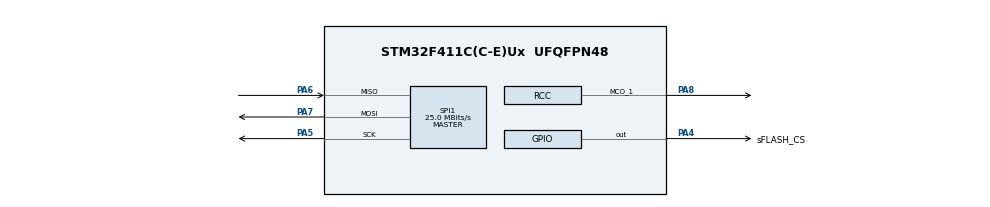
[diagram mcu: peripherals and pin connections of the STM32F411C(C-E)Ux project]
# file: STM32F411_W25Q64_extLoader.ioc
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Mcu.Family=STM32F4
Mcu.Name=STM32F411C(C-E)Ux
Mcu.Package=UFQFPN48
NVIC.PriorityGroup=NVIC_PRIORITYGROUP_4
PA13.Mode=Serial_Wire
PA13.Signal=SYS_JTMS-SWDIO
PA14.Mode=Serial_Wire
PA14.Signal=SYS_JTCK-SWCLK
PA4.GPIO_Label=sFLASH_CS
PA4.GPIO_Speed=GPIO_SPEED_FREQ_HIGH
PA4.PinState=GPIO_PIN_SET
PA4.Signal=GPIO_Output
PA5.Mode=Full_Duplex_Master
PA5.Signal=SPI1_SCK
PA6.Mode=Full_Duplex_Master
PA6.Signal=SPI1_MISO
PA7.Mode=Full_Duplex_Master
PA7.Signal=SPI1_MOSI
PA8.Mode=Clock-out-1
PA8.Signal=RCC_MCO_1
PH0\ -\ OSC_IN.Mode=HSE-External-Oscillator
PH0\ -\ OSC_IN.Signal=RCC_OSC_IN
PH1\ -\ OSC_OUT.Mode=HSE-External-Oscillator
PH1\ -\ OSC_OUT.Signal=RCC_OSC_OUT
ProjectManager.HeapSize=0x200
ProjectManager.StackSize=0x400
ProjectManager.TargetToolchain=MDK-ARM V5.32
RCC.48MHZClocksFreq_Value=50000000
RCC.AHBFreq_Value=100000000
RCC.APB1CLKDivider=RCC_HCLK_DIV2
RCC.APB1Freq_Value=50000000
RCC.APB1TimFreq_Value=100000000
RCC.APB2Freq_Value=100000000
RCC.APB2TimFreq_Value=100000000
RCC.CortexFreq_Value=100000000
RCC.HCLKFreq_Value=100000000
RCC.HSE_VALUE=25000000
RCC.HSI_VALUE=16000000
RCC.LSE_VALUE=32768
RCC.PLLM=8
RCC.PLLN=100
RCC.RCC_MCO1Source=RCC_MCO1SOURCE_PLLCLK
RCC.RCC_MCODiv1=RCC_MCODIV_2
RCC.SYSCLKFreq_VALUE=100000000
RCC.SYSCLKSource=RCC_SYSCLKSOURCE_PLLCLK
RCC.VCOOutputFreq_Value=200000000
SPI1.BaudRatePrescaler=SPI_BAUDRATEPRESCALER_4
SPI1.CalculateBaudRate=25.0 MBits/s
SPI1.Direction=SPI_DIRECTION_2LINES
SPI1.Mode=SPI_MODE_MASTER
SPI1.VirtualType=VM_MASTER
board=custom

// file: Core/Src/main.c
/* USER CODE BEGIN Header */
/**
  ******************************************************************************
  * @file           : main.c
  * @brief          : Main program body
  ******************************************************************************
  * @attention
  *
  * Copyright (c) 2024 STMicroelectronics.
  * All rights reserved.
  *
  * This software is licensed under terms that can be found in the LICENSE file
  * in the root directory of this software component.
  * If no LICENSE file comes with this software, it is provided AS-IS.
  *
  ******************************************************************************
  */
/* USER CODE END Header */
#include "main.h"
#include "spi.h"
#include "gpio.h"

/* USER CODE BEGIN Includes */
#include "stm32_eval_spi_flash.h"
/* USER CODE END Includes */

void SystemClock_Config(void);

/* USER CODE BEGIN 0 */
int Init (void)
{
	SystemInit();
	  /* MCU Configuration--------------------------------------------------------*/
__disable_irq();
  /* Reset of all peripherals, Initializes the Flash interface and the Systick. */
  LL_APB2_GRP1_EnableClock(LL_APB2_GRP1_PERIPH_SYSCFG);
  LL_APB1_GRP1_EnableClock(LL_APB1_GRP1_PERIPH_PWR);

  /* System interrupt init*/
 // NVIC_SetPriorityGrouping(NVIC_PRIORITYGROUP_4);

  /* SysTick_IRQn interrupt configuration */
 // NVIC_SetPriority(SysTick_IRQn, NVIC_EncodePriority(NVIC_GetPriorityGrouping(),15, 0));

  /* USER CODE BEGIN Init */

  /* USER CODE END Init */

  /* Configure the system clock */
  SystemClock_Config();

  /* USER CODE BEGIN SysInit */

  /* USER CODE END SysInit */

  /* Initialize all configured peripherals */
  MX_GPIO_Init();
  MX_SPI1_Init();
	LL_SPI_Enable(sFLASH_SPI);
	sFLASH_ReadID();
	return 1;
}

/**
  * Description :
  * Read data from the device
  * Inputs    :
  *      Address       : Write location
  *      Size          : Length in bytes
  *      buffer        : Address where to get the data to write
  * outputs   :
  *      R0             : "1" 			: Operation succeeded
  * 			  "0" 			: Operation failure
  * Note: Mandatory for all types except SRAM and PSRAM
  */
int Read (uint32_t Address, uint32_t Size, uint8_t* buffer)
{
  sFLASH_ReadBuffer(buffer, Address, Size);
  return 1;
}

/**
  * Description :
  * Write data from the device
  * Inputs    :
  *      Address       : Write location
  *      Size          : Length in bytes
  *      buffer        : Address where to get the data to write
  * outputs   :
  *      R0           : "1" 			: Operation succeeded
  *                     "0" 			: Operation failure
  * Note: Mandatory for all types except SRAM and PSRAM
  */
int Write (uint32_t Address, uint32_t Size, uint8_t* buffer)
{
  sFLASH_WriteBuffer(buffer, Address, Size);
  return 1;
}

/**
  * Description :
  * Erase a full sector in the device
  * Inputs    :
  *     None
  * outputs   :
  *     R0             : "1" : Operation succeeded
  * 			 "0" : Operation failure
  * Note: Not Mandatory for SRAM PSRAM and NOR_FLASH
  */
int MassErase (void)
{
  sFLASH_EraseBulk();
  return 1;
}

/**
  * Description :
  * Erase a full sector in the device
  * Inputs    :
  *      SectrorAddress	: Start of sector
  *      Size          : Size (in WORD)
  *      InitVal       : Initial CRC value
  * outputs   :
  *     R0             : "1" : Operation succeeded
  * 			 "0" : Operation failure
  * Note: Not Mandatory for SRAM PSRAM and NOR_FLASH
  */
int SectorErase (uint32_t EraseStartAddress ,uint32_t EraseEndAddress)
{
  EraseStartAddress = EraseStartAddress -  EraseStartAddress%0x10000;
  while (EraseEndAddress>=EraseStartAddress)
  {
    sFLASH_EraseSector(EraseStartAddress);
    EraseStartAddress += 0x10000;
  }
  return 1;
}

/**
  * Description :
  * Calculates checksum value of the memory zone
  * Inputs    :
  *      StartAddress  : Flash start address
  *      Size          : Size (in WORD)
  *      InitVal       : Initial CRC value
  * outputs   :
  *     R0             : Checksum value
  * Note: Optional for all types of device
  */
uint32_t CheckSum(uint32_t StartAddress, uint32_t Size, uint32_t InitVal)
{
  uint8_t missalignementAddress = StartAddress%4;
  uint8_t missalignementSize = Size ;
	int cnt;
	uint32_t Val;
  uint8_t value;

  StartAddress-=StartAddress%4;
  Size += (Size%4==0)?0:4-(Size%4);

  for(cnt=0; cnt<Size ; cnt+=4)
  {
    sFLASH_ReadBuffer(&value, StartAddress ,1);
    Val = value;
    sFLASH_ReadBuffer(&value, StartAddress + 1,1);
    Val+= value<<8;
    sFLASH_ReadBuffer(&value, StartAddress + 2,1);
    Val+= value<<16;
    sFLASH_ReadBuffer(&value, StartAddress + 3,1);
    Val+= value<<24;
    if(missalignementAddress)
    {
      switch (missalignementAddress)
      {
        case 1:
          InitVal += (uint8_t) (Val>>8 & 0xff);
          InitVal += (uint8_t) (Val>>16 & 0xff);
          InitVal += (uint8_t) (Val>>24 & 0xff);
          missalignementAddress-=1;
          break;
        case 2:
          InitVal += (uint8_t) (Val>>16 & 0xff);
          InitVal += (uint8_t) (Val>>24 & 0xff);
          missalignementAddress-=2;
          break;
        case 3:
          InitVal += (uint8_t) (Val>>24 & 0xff);
          missalignementAddress-=3;
          break;
      }
    }
    else if((Size-missalignementSize)%4 && (Size-cnt) <=4)
    {
      switch (Size-missalignementSize)
      {
        case 1:
          InitVal += (uint8_t) Val;
          InitVal += (uint8_t) (Val>>8 & 0xff);
          InitVal += (uint8_t) (Val>>16 & 0xff);
          missalignementSize-=1;
          break;
        case 2:
          InitVal += (uint8_t) Val;
          InitVal += (uint8_t) (Val>>8 & 0xff);
          missalignementSize-=2;
          break;
        case 3:
          InitVal += (uint8_t) Val;
          missalignementSize-=3;
          break;
      }
    }
    else
    {
      InitVal += (uint8_t) Val;
      InitVal += (uint8_t) (Val>>8 & 0xff);
      InitVal += (uint8_t) (Val>>16 & 0xff);
      InitVal += (uint8_t) (Val>>24 & 0xff);
    }
    StartAddress+=4;
  }

  return (InitVal);
}

/**
  * Description :
  * Verify flash memory with RAM buffer and calculates checksum value of
  * the programmed memory
  * Inputs    :
  *      FlashAddr     : Flash address
  *      RAMBufferAddr : RAM buffer address
  *      Size          : Size (in WORD)
  *      InitVal       : Initial CRC value
  * outputs   :
  *     R0             : Operation failed (address of failure)
  *     R1             : Checksum value
  * Note: Optional for all types of device
  */
uint64_t Verify (uint32_t MemoryAddr, uint32_t RAMBufferAddr, uint32_t Size, uint32_t missalignement)
{
  uint32_t InitVal = 0;
  uint32_t VerifiedData = 0;
  uint8_t TmpBuffer = 0x00;
	uint64_t checksum;
  Size*=4;

  checksum = CheckSum((uint32_t)MemoryAddr + (missalignement & 0xf), Size - ((missalignement >> 16) & 0xF), InitVal);

  while (Size>VerifiedData)
  {
    sFLASH_ReadBuffer(&TmpBuffer, MemoryAddr+VerifiedData, 1);

    if (TmpBuffer != *((uint8_t*)RAMBufferAddr+VerifiedData))
      return ((checksum<<32) + MemoryAddr+VerifiedData);

    VerifiedData++;
  }

  return (checksum<<32);
}

/* USER CODE END 0 */

int mainx(void)
{
  /* USER CODE BEGIN 1 */
uint32_t id;
	__disable_irq();
  /* USER CODE END 1 */

  /* MCU Configuration--------------------------------------------------------*/

  /* Reset of all peripherals, Initializes the Flash interface and the Systick. */
  LL_APB2_GRP1_EnableClock(LL_APB2_GRP1_PERIPH_SYSCFG);
  LL_APB1_GRP1_EnableClock(LL_APB1_GRP1_PERIPH_PWR);

  /* System interrupt init*/
  NVIC_SetPriorityGrouping(NVIC_PRIORITYGROUP_4);

  /* SysTick_IRQn interrupt configuration */
  NVIC_SetPriority(SysTick_IRQn, NVIC_EncodePriority(NVIC_GetPriorityGrouping(),15, 0));

  /* Configure the system clock */
  SystemClock_Config();

  /* Initialize all configured peripherals */
  MX_GPIO_Init();
  MX_SPI1_Init();
  /* USER CODE BEGIN 2 */
	__disable_irq();
	LL_SPI_Enable(sFLASH_SPI);
	id=sFLASH_ReadID();

  /* USER CODE END 2 */

  /* Infinite loop */
  while (1)
  {

  }
}

void SystemClock_Config(void)
{
  LL_FLASH_SetLatency(LL_FLASH_LATENCY_3);
  while(LL_FLASH_GetLatency()!= LL_FLASH_LATENCY_3)
  {
  }
  LL_PWR_SetRegulVoltageScaling(LL_PWR_REGU_VOLTAGE_SCALE1);
  LL_RCC_HSI_SetCalibTrimming(16);
  LL_RCC_HSI_Enable();

   /* Wait till HSI is ready */
  while(LL_RCC_HSI_IsReady() != 1)
  {

  }
  LL_RCC_PLL_ConfigDomain_SYS(LL_RCC_PLLSOURCE_HSI, LL_RCC_PLLM_DIV_8, 100, LL_RCC_PLLP_DIV_2);
  LL_RCC_PLL_Enable();

   /* Wait till PLL is ready */
  while(LL_RCC_PLL_IsReady() != 1)
  {

  }
  while (LL_PWR_IsActiveFlag_VOS() == 0)
  {
  }
  LL_RCC_SetAHBPrescaler(LL_RCC_SYSCLK_DIV_1);
  LL_RCC_SetAPB1Prescaler(LL_RCC_APB1_DIV_2);
  LL_RCC_SetAPB2Prescaler(LL_RCC_APB2_DIV_1);
  LL_RCC_SetSysClkSource(LL_RCC_SYS_CLKSOURCE_PLL);

   /* Wait till System clock is ready */
  while(LL_RCC_GetSysClkSource() != LL_RCC_SYS_CLKSOURCE_STATUS_PLL)
  {

  }
  //LL_Init1msTick(100000000);
  //LL_SetSystemCoreClock(100000000);
  LL_RCC_ConfigMCO(LL_RCC_MCO1SOURCE_PLLCLK, LL_RCC_MCO1_DIV_2);
  LL_RCC_SetTIMPrescaler(LL_RCC_TIM_PRESCALER_TWICE);
}

void Error_Handler(void)
{
  __disable_irq();
  while (1)
  {
  }
}
